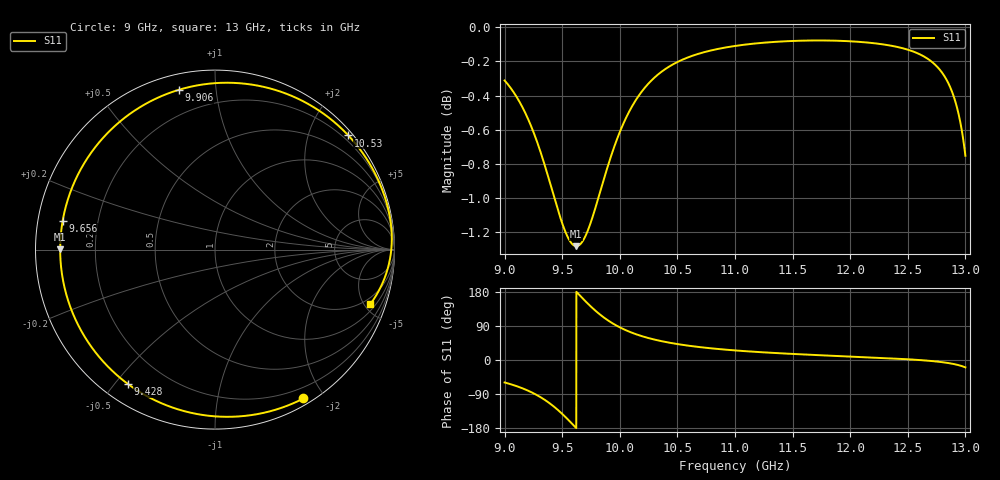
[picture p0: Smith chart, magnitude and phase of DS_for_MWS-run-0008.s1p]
! TOUCHSTONE file generated by CST DESIGN STUDIO
! Date and time: Tue Feb  4 17:52:55 2025
! Project name: C:\Work\MatlabApps\UnitCellOptimizationMatlab\CST\unitcell.cst
! Tree item: Tasks\Sweep1\SPara1\S-Parameters
! Header version: 2024
! Port assignment regex: !\s*Touchstone port\s*([0-9]+)\s*=\s*(CST MWS port|CST DES external port|CST DES block port)\s*(.+)\s* \(\"(.*)\"\)(\s*mode\s*([0-9]+))?.*
! Touchstone port assignment:
! Touchstone port 1 = CST DES external port 1 ("")
# GHz S MA R 50
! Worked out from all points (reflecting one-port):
!   4001 points, 9 GHz to 13 GHz, reference 50 ohm
!   lowest |S11| = -1.3 dB at 9.623 GHz (marker M1), VSWR 13.56, Z = 3.69 + j0.0336 ohm
!   phase of S11 starts at -59 deg and turns -320 deg over the sweep
!   S11 on the Smith chart (normalised r, x): 9 GHz: 0.07, -1.75; 9.428 GHz: 0.07, -0.54; 9.656 GHz: 0.07, +0.09; 9.906 GHz: 0.07, +0.80; 10.53 GHz: 0.09, +2.70; 13 GHz: 1.43, -5.48
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9  0.9647 -59.3
9.059  0.9592 -64.5
9.134  0.9503 -72.3
9.265  0.929 -90.1
9.352  0.9103 -105.9
9.428  0.8922 -123.0
9.5  0.8761 -142.2
9.565  0.8659 -161.7
9.623  0.8627 179.9
9.656  0.8638 169.4
9.714  0.8704 151.3
9.783  0.8841 131.5
9.843  0.8981 116.4
9.906  0.9128 102.8
10  0.9318 86.2
10.105  0.9479 72.0
10.219  0.9602 60.4
10.348  0.9696 50.6
10.5  0.9768 42.0
10.531  0.9779 40.6
10.739  0.9835 32.5
11  0.9875 25.3
11.5  0.9908 16.0
12  0.9906 9.2
12.5  0.985 1.9
12.805  0.969 -6.0
12.914  0.9508 -11.6
13  0.9169 -19.4
